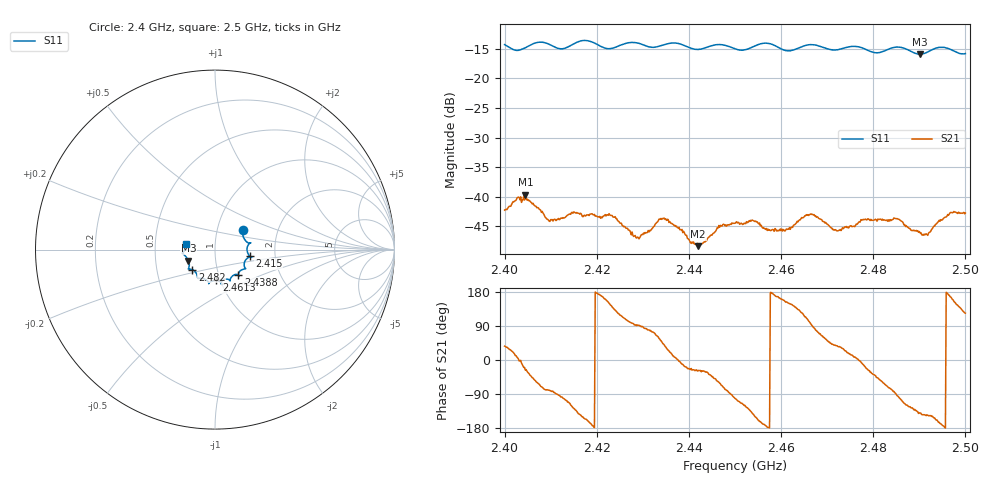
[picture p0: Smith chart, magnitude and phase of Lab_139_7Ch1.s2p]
# Hz S RI R 50
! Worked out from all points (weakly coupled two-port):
!   601 points, 2.4 GHz to 2.5 GHz, reference 50 ohm
!   highest |S21| = -39.66 dB at 2.4045 GHz (marker M1); lowest = -48.4 dB at 2.442 GHz (marker M2)
!   lowest |S11| = -15.9 dB at 2.4902 GHz (marker M3), VSWR 1.38, Z = 36.9 - j4.65 ohm
!   |S11| at or under -10 dB: start of sweep to end of sweep
!   S12 and S22 are empty: the file has one direction only
!   S11 on the Smith chart (normalised r, x): 2.4 GHz: 1.33, +0.31; 2.415 GHz: 1.47, -0.11; 2.4388 GHz: 1.24, -0.36; 2.4613 GHz: 0.96, -0.34; 2.482 GHz: 0.76, -0.17; 2.5 GHz: 0.72, +0.05
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2.4e9  0.1574 0.1119  0.00619 0.0046  0 0  0 0
2.4045e9  0.1766 0.0434  0.00929 -0.00468  0 0  0 0
2.409667e9  0.1917 0.0337  0.00114 -0.0061  0 0  0 0
2.415e9  0.1927 -0.0359  -0.00451 -0.00592  0 0  0 0
2.416667e9  0.2039 -0.0436  -0.00602 -0.00381  0 0  0 0
2.423167e9  0.1632 -0.0745  -0.00558 0.00414  0 0  0 0
2.429e9  0.1678 -0.1067  -0.000107 0.00452  0 0  0 0
2.433333e9  0.132 -0.1318  0.00302 0.00546  0 0  0 0
2.438833e9  0.1295 -0.1406  0.00496 -0.00122  0 0  0 0
2.442e9  0.099 -0.1455  0.00339 -0.00176  0 0  0 0
2.447e9  0.0842 -0.1739  0.00229 -0.0052  0 0  0 0
2.45e9  0.0688 -0.1646  -0.00117 -0.00584  0 0  0 0
2.454167e9  0.0343 -0.1843  -0.00521 -0.00342  0 0  0 0
2.456833e9  0.0385 -0.195  -0.00537 -0.000504  0 0  0 0
2.461333e9  0.00792 -0.1712  -0.00468 0.00247  0 0  0 0
2.466667e9  -0.0347 -0.1902  -0.000183 0.00708  0 0  0 0
2.472e9  -0.066 -0.1616  0.00408 0.00317  0 0  0 0
2.482e9  -0.1258 -0.1117  0.00342 -0.00547  0 0  0 0
2.483333e9  -0.1395 -0.1089  0.00185 -0.0061  0 0  0 0
2.490167e9  -0.1481 -0.0614  -0.00378 -0.00319  0 0  0 0
2.494833e9  -0.1826 -0.0202  -0.00626 -0.00109  0 0  0 0
2.5e9  -0.159 0.0327  -0.00404 0.00606  0 0  0 0
